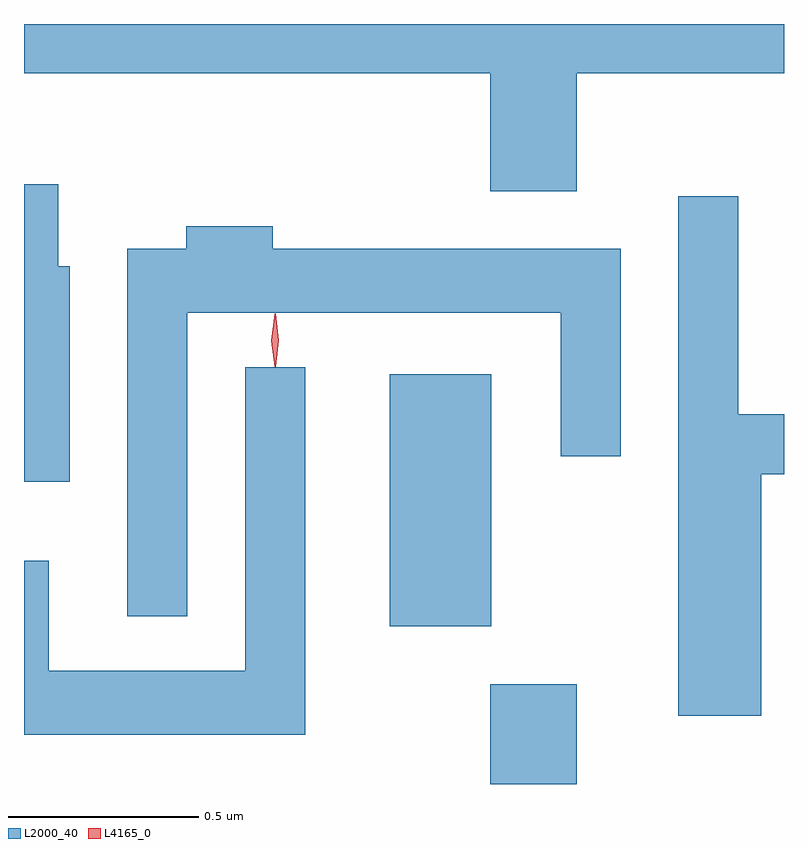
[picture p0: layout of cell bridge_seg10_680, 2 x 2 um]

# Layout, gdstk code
import gdstk
lib = gdstk.Library(unit=1e-6, precision=1e-09)
def R(c, l, rs):  # rectangles x0, y0, x1, y1
    for r in rs: c.add(gdstk.rectangle(r[:2], r[2:], *l))
def P(c, l, *ps):  # polygons
    for p in ps: c.add(gdstk.Polygon(p, *l))
L2000_40 = (2000, 40)
L4165_0 = (4165, 0)

bridge_seg10_680 = lib.new_cell('bridge_seg10_680')
R(bridge_seg10_680, L2000_40, [(1052.461,2105.386,1052.689,2105.649), (1052.196,2105.801,1052.464,2106.464)])
P(bridge_seg10_680, L2000_40, [(1052.689,2107.256),(1053.234,2107.256),(1053.234,2107.386),(1051.234,2107.386),(1051.234,2107.256),(1052.461,2107.256),(1052.461,2106.946),(1052.689,2106.946)],
  [(1051.354,2106.749),(1051.324,2106.749),(1051.324,2106.964),(1051.234,2106.964),(1051.234,2106.181),(1051.354,2106.181)],
  [(1053.174,2106.201),(1053.234,2106.201),(1053.234,2106.359),(1053.114,2106.359),(1053.114,2106.933),(1052.956,2106.933),(1052.956,2105.566),(1053.174,2105.566)],
  [(1051.664,2106.626),(1052.646,2106.626),(1052.646,2106.248),(1052.804,2106.248),(1052.804,2106.794),(1051.889,2106.794),(1051.889,2106.854),(1051.661,2106.854),(1051.661,2106.794),(1051.506,2106.794),(1051.506,2105.828),(1051.664,2105.828)],
  [(1051.974,2106.483),(1051.816,2106.483),(1051.816,2105.684),(1051.299,2105.684),(1051.299,2105.974),(1051.234,2105.974),(1051.234,2105.516),(1051.974,2105.516)])
P(bridge_seg10_680, L4165_0, [(1051.895,2106.487),(1051.895,2106.488),(1051.885,2106.554),(1051.895,2106.62),(1051.895,2106.621),(1051.896,2106.62),(1051.905,2106.554),(1051.896,2106.488)],
  [(1051.894,2106.484),(1051.885,2106.553),(1051.894,2106.623),(1051.895,2106.623),(1051.896,2106.623),(1051.905,2106.553),(1051.896,2106.484),(1051.895,2106.484)])

lib.write_gds('bridge_seg10_680.gds')
